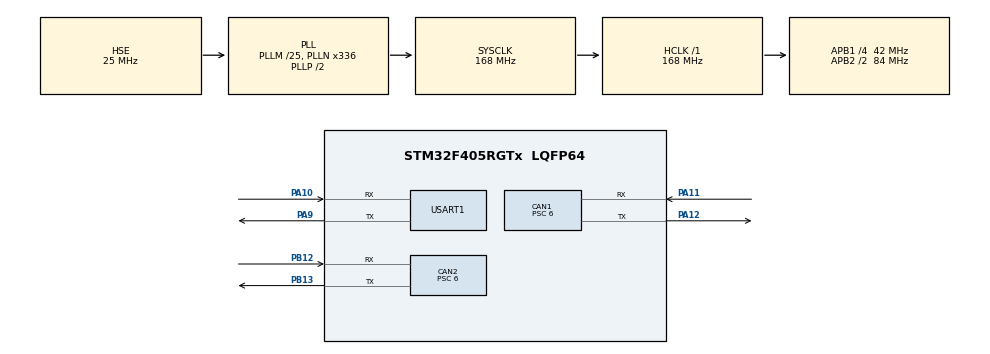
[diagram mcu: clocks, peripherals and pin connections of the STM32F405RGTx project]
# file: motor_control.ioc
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CAN1.BS1=CAN_BS1_4TQ
CAN1.BS2=CAN_BS2_2TQ
CAN1.CalculateBaudRate=1000000
CAN1.CalculateTimeBit=1000
CAN1.CalculateTimeQuantum=142.85714285714286
CAN1.Mode=CAN_MODE_NORMAL
CAN1.Prescaler=6
CAN2.BS1=CAN_BS1_4TQ
CAN2.BS2=CAN_BS2_2TQ
CAN2.CalculateBaudRate=1000000
CAN2.CalculateTimeBit=1000
CAN2.CalculateTimeQuantum=142.85714285714286
CAN2.Prescaler=6
FREERTOS.Tasks01=defaultTask,0,128,StartDefaultTask,Default,NULL,Dynamic,NULL,NULL;can1,-3,128,StartTask02,Default,NULL,Dynamic,NULL,NULL;myTask03,-3,128,StartTask03,Default,NULL,Dynamic,NULL,NULL
Mcu.Family=STM32F4
Mcu.Name=STM32F405RGTx
Mcu.Package=LQFP64
NVIC.CAN1_RX0_IRQn=true\:5\:0\:false\:false\:true\:true\:true\:true\:true
NVIC.CAN1_RX1_IRQn=true\:5\:0\:false\:false\:true\:true\:true\:true\:true
NVIC.CAN1_SCE_IRQn=true\:5\:0\:false\:false\:true\:true\:true\:true\:true
NVIC.CAN1_TX_IRQn=true\:5\:0\:false\:false\:true\:true\:true\:true\:true
NVIC.CAN2_RX0_IRQn=true\:5\:0\:false\:false\:true\:true\:true\:true\:true
NVIC.CAN2_RX1_IRQn=true\:5\:0\:false\:false\:true\:true\:true\:true\:true
NVIC.CAN2_SCE_IRQn=true\:5\:0\:false\:false\:true\:true\:true\:true\:true
NVIC.CAN2_TX_IRQn=true\:5\:0\:false\:false\:true\:true\:true\:true\:true
NVIC.PriorityGroup=NVIC_PRIORITYGROUP_4
NVIC.TIM5_IRQn=true\:15\:0\:false\:false\:true\:false\:false\:true\:true
NVIC.TimeBase=TIM5_IRQn
NVIC.TimeBaseIP=TIM5
PA10.Mode=Asynchronous
PA10.Signal=USART1_RX
PA11.Mode=CAN_Activate
PA11.Signal=CAN1_RX
PA12.Mode=CAN_Activate
PA12.Signal=CAN1_TX
PA13.Mode=Serial_Wire
PA13.Signal=SYS_JTMS-SWDIO
PA14.Mode=Serial_Wire
PA14.Signal=SYS_JTCK-SWCLK
PA9.Mode=Asynchronous
PA9.Signal=USART1_TX
PB12.Mode=CAN_Activate
PB12.Signal=CAN2_RX
PB13.Mode=CAN_Activate
PB13.Signal=CAN2_TX
PC14-OSC32_IN.Mode=LSE-External-Oscillator
PC14-OSC32_IN.Signal=RCC_OSC32_IN
PC15-OSC32_OUT.Mode=LSE-External-Oscillator
PC15-OSC32_OUT.Signal=RCC_OSC32_OUT
PH0-OSC_IN.Mode=HSE-External-Oscillator
PH0-OSC_IN.Signal=RCC_OSC_IN
PH1-OSC_OUT.Mode=HSE-External-Oscillator
PH1-OSC_OUT.Signal=RCC_OSC_OUT
ProjectManager.HeapSize=0x200
ProjectManager.StackSize=0x400
ProjectManager.TargetToolchain=MDK-ARM V5.32
RCC.48MHZClocksFreq_Value=84000000
RCC.AHBFreq_Value=168000000
RCC.APB1CLKDivider=RCC_HCLK_DIV4
RCC.APB1Freq_Value=42000000
RCC.APB1TimFreq_Value=84000000
RCC.APB2CLKDivider=RCC_HCLK_DIV2
RCC.APB2Freq_Value=84000000
RCC.APB2TimFreq_Value=168000000
RCC.CortexFreq_Value=168000000
RCC.HCLKFreq_Value=168000000
RCC.HSE_VALUE=25000000
RCC.HSI_VALUE=16000000
RCC.PLLM=25
RCC.PLLN=336
RCC.PLLSourceVirtual=RCC_PLLSOURCE_HSE
RCC.SYSCLKFreq_VALUE=168000000
RCC.SYSCLKSource=RCC_SYSCLKSOURCE_PLLCLK
RCC.VCOOutputFreq_Value=336000000
USART1.VirtualMode=VM_ASYNC
VP_FREERTOS_VS_CMSIS_V1.Mode=CMSIS_V1
VP_SYS_VS_tim5.Mode=TIM5
board=custom

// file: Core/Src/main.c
/* USER CODE BEGIN Header */
/**
  ******************************************************************************
  * @file           : main.c
  * @brief          : Main program body
  ******************************************************************************
  * @attention
  *
  * Copyright (c) 2024 STMicroelectronics.
  * All rights reserved.
  *
  * This software is licensed under terms that can be found in the LICENSE file
  * in the root directory of this software component.
  * If no LICENSE file comes with this software, it is provided AS-IS.
  *
  ******************************************************************************
  */
/* USER CODE END Header */
#include "main.h"
#include "cmsis_os.h"

/* USER CODE BEGIN Includes */
#include "stdio.h"
#include "mycan.h"
/* USER CODE END Includes */

CAN_HandleTypeDef hcan1;
CAN_HandleTypeDef hcan2;

UART_HandleTypeDef huart1;

osThreadId defaultTaskHandle;
osThreadId can1Handle;
osThreadId myTask03Handle;

void SystemClock_Config(void);
static void MX_GPIO_Init(void);
static void MX_CAN1_Init(void);
static void MX_USART1_UART_Init(void);
static void MX_CAN2_Init(void);
void StartDefaultTask(void const * argument);
void StartTask02(void const * argument);
void StartTask03(void const * argument);

/* USER CODE BEGIN 0 */
int fputc(int ch, FILE *f)
{
	HAL_UART_Transmit(&huart1,(uint8_t *)&ch,1,HAL_MAX_DELAY);
	return ch;
}

int fgetc(FILE *f)
{
	uint8_t ch;
	HAL_UART_Receive(&huart1,(uint8_t *)&ch,1,HAL_MAX_DELAY);
	return ch;
}
/* USER CODE END 0 */

int main(void)
{

  /* MCU Configuration--------------------------------------------------------*/

  /* Reset of all peripherals, Initializes the Flash interface and the Systick. */
  HAL_Init();

  /* Configure the system clock */
  SystemClock_Config();

  /* Initialize all configured peripherals */
  MX_GPIO_Init();
  MX_CAN1_Init();
  MX_USART1_UART_Init();
  MX_CAN2_Init();

  /* Create the thread(s) */
  /* definition and creation of defaultTask */
  osThreadDef(defaultTask, StartDefaultTask, osPriorityNormal, 0, 128);
  defaultTaskHandle = osThreadCreate(osThread(defaultTask), NULL);

  /* definition and creation of can1 */
  osThreadDef(can1, StartTask02, osPriorityIdle, 0, 128);
  can1Handle = osThreadCreate(osThread(can1), NULL);

  /* definition and creation of myTask03 */
  osThreadDef(myTask03, StartTask03, osPriorityIdle, 0, 128);
  myTask03Handle = osThreadCreate(osThread(myTask03), NULL);

  /* Start scheduler */
  osKernelStart();
  /* We should never get here as control is now taken by the scheduler */
  /* Infinite loop */
  while (1)
  {

  }
}

void SystemClock_Config(void)
{
  RCC_OscInitTypeDef RCC_OscInitStruct = {0};
  RCC_ClkInitTypeDef RCC_ClkInitStruct = {0};

  /** Configure the main internal regulator output voltage
  */
  __HAL_RCC_PWR_CLK_ENABLE();
  __HAL_PWR_VOLTAGESCALING_CONFIG(PWR_REGULATOR_VOLTAGE_SCALE1);

  /** Initializes the RCC Oscillators according to the specified parameters
  * in the RCC_OscInitTypeDef structure.
  */
  RCC_OscInitStruct.OscillatorType = RCC_OSCILLATORTYPE_HSE;
  RCC_OscInitStruct.HSEState = RCC_HSE_ON;
  RCC_OscInitStruct.PLL.PLLState = RCC_PLL_ON;
  RCC_OscInitStruct.PLL.PLLSource = RCC_PLLSOURCE_HSE;
  RCC_OscInitStruct.PLL.PLLM = 25;
  RCC_OscInitStruct.PLL.PLLN = 336;
  RCC_OscInitStruct.PLL.PLLP = RCC_PLLP_DIV2;
  RCC_OscInitStruct.PLL.PLLQ = 4;
  if (HAL_RCC_OscConfig(&RCC_OscInitStruct) != HAL_OK)
  {
    Error_Handler();
  }

  /** Initializes the CPU, AHB and APB buses clocks
  */
  RCC_ClkInitStruct.ClockType = RCC_CLOCKTYPE_HCLK|RCC_CLOCKTYPE_SYSCLK
                              |RCC_CLOCKTYPE_PCLK1|RCC_CLOCKTYPE_PCLK2;
  RCC_ClkInitStruct.SYSCLKSource = RCC_SYSCLKSOURCE_PLLCLK;
  RCC_ClkInitStruct.AHBCLKDivider = RCC_SYSCLK_DIV1;
  RCC_ClkInitStruct.APB1CLKDivider = RCC_HCLK_DIV4;
  RCC_ClkInitStruct.APB2CLKDivider = RCC_HCLK_DIV2;

  if (HAL_RCC_ClockConfig(&RCC_ClkInitStruct, FLASH_LATENCY_5) != HAL_OK)
  {
    Error_Handler();
  }
}

static void MX_CAN1_Init(void)
{

  hcan1.Instance = CAN1;
  hcan1.Init.Prescaler = 6;
  hcan1.Init.Mode = CAN_MODE_NORMAL;
  hcan1.Init.SyncJumpWidth = CAN_SJW_1TQ;
  hcan1.Init.TimeSeg1 = CAN_BS1_4TQ;
  hcan1.Init.TimeSeg2 = CAN_BS2_2TQ;
  hcan1.Init.TimeTriggeredMode = DISABLE;
  hcan1.Init.AutoBusOff = DISABLE;
  hcan1.Init.AutoWakeUp = DISABLE;
  hcan1.Init.AutoRetransmission = DISABLE;
  hcan1.Init.ReceiveFifoLocked = DISABLE;
  hcan1.Init.TransmitFifoPriority = DISABLE;
  if (HAL_CAN_Init(&hcan1) != HAL_OK)
  {
    Error_Handler();
  }

}

static void MX_CAN2_Init(void)
{

  hcan2.Instance = CAN2;
  hcan2.Init.Prescaler = 6;
  hcan2.Init.Mode = CAN_MODE_NORMAL;
  hcan2.Init.SyncJumpWidth = CAN_SJW_1TQ;
  hcan2.Init.TimeSeg1 = CAN_BS1_4TQ;
  hcan2.Init.TimeSeg2 = CAN_BS2_2TQ;
  hcan2.Init.TimeTriggeredMode = DISABLE;
  hcan2.Init.AutoBusOff = DISABLE;
  hcan2.Init.AutoWakeUp = DISABLE;
  hcan2.Init.AutoRetransmission = DISABLE;
  hcan2.Init.ReceiveFifoLocked = DISABLE;
  hcan2.Init.TransmitFifoPriority = DISABLE;
  if (HAL_CAN_Init(&hcan2) != HAL_OK)
  {
    Error_Handler();
  }

}

static void MX_USART1_UART_Init(void)
{

  huart1.Instance = USART1;
  huart1.Init.BaudRate = 115200;
  huart1.Init.WordLength = UART_WORDLENGTH_8B;
  huart1.Init.StopBits = UART_STOPBITS_1;
  huart1.Init.Parity = UART_PARITY_NONE;
  huart1.Init.Mode = UART_MODE_TX_RX;
  huart1.Init.HwFlowCtl = UART_HWCONTROL_NONE;
  huart1.Init.OverSampling = UART_OVERSAMPLING_16;
  if (HAL_UART_Init(&huart1) != HAL_OK)
  {
    Error_Handler();
  }

}

static void MX_GPIO_Init(void)
{

  /* GPIO Ports Clock Enable */
  __HAL_RCC_GPIOC_CLK_ENABLE();
  __HAL_RCC_GPIOH_CLK_ENABLE();
  __HAL_RCC_GPIOB_CLK_ENABLE();
  __HAL_RCC_GPIOA_CLK_ENABLE();

}

/* USER CODE BEGIN 4 */
		uint16_t Angel_first;
		uint16_t Angel;
		int16_t Speed;
		uint16_t torque_current;
		uint8_t tem;
/* USER CODE END 4 */

void StartDefaultTask(void const * argument)
{
  for(;;)
  {
    osDelay(1);
  }
}

void StartTask02(void const * argument)
{
  /* USER CODE BEGIN StartTask02 */
		HAL_CAN_Start(&hcan2);

		FilterInit();

//	int16_t i = 0;
		uint32_t TxID = 0x2FF;
		uint8_t TxLength = 8;
		uint8_t TxData[8];

		TxData[0] = 0x30;
		TxData[1] = 0xE8;

//		printf("TxID: %d\r\n",TxID);
//		printf("TxLength: %d\r\n",TxLength);
  /* Infinite loop */

  for(;;)
  {

	CAN2_Transmit(TxID,TxLength,TxData);
	osDelay(5);
  }
  /* USER CODE END StartTask02 */
}

void StartTask03(void const * argument)
{
  /* USER CODE BEGIN StartTask03 */
		uint32_t RxID;
		uint8_t RxLength;
		uint8_t RxData[8];

		HAL_CAN_ActivateNotification(&hcan2, CAN_IT_RX_FIFO0_MSG_PENDING);
  /* Infinite loop */
  for(;;)
  {
		for(uint16_t i = 0; i <= 8 ;  i++)
		{
			RxData[i] = Data_can2_fifo0[i];
		}
		Can2_Receive_Judgment(0x209,RxData);

		Angel_first  = (RxData[0] << 8) | RxData[1];
		Speed = (RxData[2] << 8) | RxData[3];
		torque_current = (RxData[4] << 8) | RxData[5];
		tem = RxData[6];

		Angel = Angel_first  * 360 / 8191;

		printf("Angel = %d\r\n",Angel);
		printf("Speed = %d\r\n",Speed);
		printf("torque_current = %d\r\n",torque_current);
		printf("tem = %d\r\n",tem);

		osDelay(1);
  }
  /* USER CODE END StartTask03 */
}

void HAL_TIM_PeriodElapsedCallback(TIM_HandleTypeDef *htim)
{
  if (htim->Instance == TIM5) {
    HAL_IncTick();
  }
}

void Error_Handler(void)
{
  __disable_irq();
  while (1)
  {
  }
}
